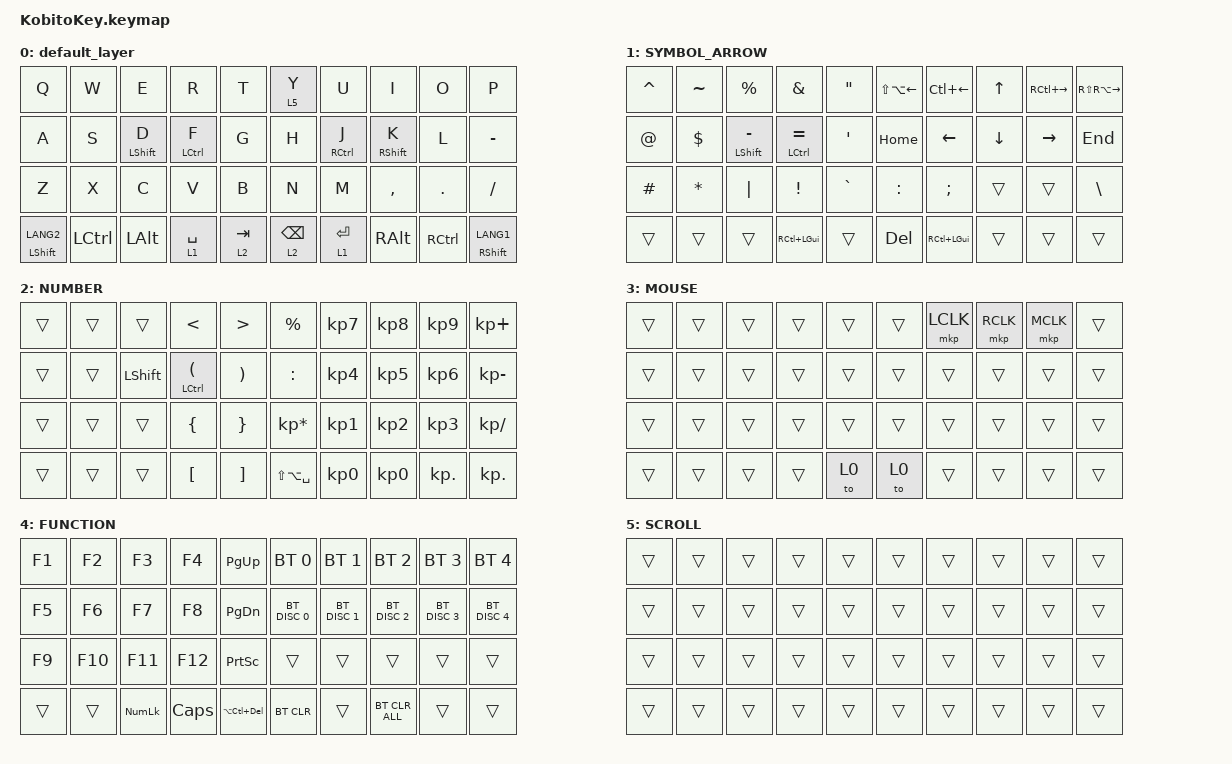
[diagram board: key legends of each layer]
#include <input/processors.dtsi>
#include <behaviors.dtsi>
#include <dt-bindings/zmk/bt.h>
#include <dt-bindings/zmk/keys.h>
#include <dt-bindings/zmk/pointing.h>

&mt {
    quick-tap-ms = <0>;
    require-prior-idle-ms = <125>;
    flavor = "tap-preferred";
};

&lt {
    quick-tap-ms = <200>;
    require-prior-idle-ms = <125>;
    flavor = "balanced";
};

/ {
    combos {
        compatible = "zmk,combos";

        combo_esc {
            timeout-ms = <50>;
            key-positions = <0 1>;
            bindings = <&kp ESC>;
        };

        combo_colon {
            bindings = <&kp COLON>;
            key-positions = <14 24>;
        };

        combo_semicolon {
            bindings = <&kp SEMICOLON>;
            key-positions = <15 25>;
        };

        combo_comma {
            bindings = <&kp COMMA>;
            key-positions = <4 14>;
        };

        combo_period {
            bindings = <&kp PERIOD>;
            key-positions = <5 15>;
        };

        combo_lt4_L {
            bindings = <&lt 4 LEFT_GUI>;
            key-positions = <33 34>;
        };

        combo_lt4_R {
            bindings = <&lt 4 LEFT_GUI>;
            key-positions = <35 36>;
        };
    };

    keymap {
        compatible = "zmk,keymap";

        default_layer {
            bindings = <
&kp Q            &kp W             &kp E             &kp R               &kp T      &lt 5 Y          &kp U                &kp I              &kp O              &kp P
&kp A            &kp S             &mt LEFT_SHIFT D  &mt LEFT_CONTROL F  &kp G      &kp H            &mt RIGHT_CONTROL J  &mt RIGHT_SHIFT K  &kp L              &kp MINUS
&kp Z            &kp X             &kp C             &kp V               &kp B      &kp N            &kp M                &kp COMMA          &kp PERIOD         &kp SLASH
&mt LSHFT LANG2  &kp LEFT_CONTROL  &kp LEFT_ALT      &lt 1 SPACE         &lt 2 TAB  &lt 2 BACKSPACE  &lt 1 ENTER          &kp RIGHT_ALT      &kp RIGHT_CONTROL  &mt RIGHT_SHIFT LANG1
            >;
        };

        SYMBOL_ARROW {
            label = "SYMBOL_ARROW";
            bindings = <
&kp CARET    &kp TILDE     &kp PERCENT           &kp AMPERSAND           &kp DOUBLE_QUOTES  &kp LS(LA(LEFT))  &kp LC(LEFT)      &kp UP    &kp RC(RIGHT)  &kp RS(RA(RIGHT))
&kp AT_SIGN  &kp DOLLAR    &mt LEFT_SHIFT MINUS  &mt LEFT_CONTROL EQUAL  &kp SINGLE_QUOTE   &kp HOME          &kp LEFT          &kp DOWN  &kp RIGHT      &kp END
&kp HASH     &kp ASTERISK  &kp PIPE              &kp EXCLAMATION         &kp GRAVE          &kp COLON         &kp SEMICOLON     &trans    &trans         &kp BACKSLASH
&trans       &trans        &trans                &kp RC(LEFT_GUI)        &trans             &kp DELETE        &kp RC(LEFT_GUI)  &trans    &trans         &trans
            >;
        };

        NUMBER {
            label = "NUMBER";
            bindings = <
&trans  &trans  &trans          &kp LESS_THAN                      &kp GREATER_THAN       &kp PERCENT        &kp KP_N7  &kp KP_N8  &kp KP_N9   &kp KP_PLUS
&trans  &trans  &kp LEFT_SHIFT  &mt LEFT_CONTROL LEFT_PARENTHESIS  &kp RIGHT_PARENTHESIS  &kp COLON          &kp KP_N4  &kp KP_N5  &kp KP_N6   &kp KP_MINUS
&trans  &trans  &trans          &kp LEFT_BRACE                     &kp RIGHT_BRACE        &kp KP_MULTIPLY    &kp KP_N1  &kp KP_N2  &kp KP_N3   &kp KP_SLASH
&trans  &trans  &trans          &kp LEFT_BRACKET                   &kp RIGHT_BRACKET      &kp LS(LA(SPACE))  &kp KP_N0  &kp KP_N0  &kp KP_DOT  &kp KP_DOT
            >;
        };

        MOUSE {
            label = "MOUSE";
            bindings = <
&trans  &trans  &trans  &trans  &trans  &trans  &mkp LCLK  &mkp RCLK  &mkp MCLK  &trans
&trans  &trans  &trans  &trans  &trans  &trans  &trans     &trans     &trans     &trans
&trans  &trans  &trans  &trans  &trans  &trans  &trans     &trans     &trans     &trans
&trans  &trans  &trans  &trans  &to 0   &to 0   &trans     &trans     &trans     &trans
            >;
        };

        FUNCTION {
            label = "FUNCTION";
            bindings = <
&kp F1  &kp F2   &kp F3          &kp F4        &kp PAGE_UP         &bt BT_SEL 0   &bt BT_SEL 1   &bt BT_SEL 2    &bt BT_SEL 3   &bt BT_SEL 4
&kp F5  &kp F6   &kp F7          &kp F8        &kp PAGE_DOWN       &bt BT_DISC 0  &bt BT_DISC 1  &bt BT_DISC 2   &bt BT_DISC 3  &bt BT_DISC 4
&kp F9  &kp F10  &kp F11         &kp F12       &kp PRINTSCREEN     &trans         &trans         &trans          &trans         &trans
&trans  &trans   &kp KP_NUMLOCK  &kp CAPSLOCK  &kp LA(LC(DELETE))  &bt BT_CLR     &trans         &bt BT_CLR_ALL  &trans         &trans
            >;
        };

        SCROLL {
            bindings = <
&trans  &trans  &trans  &trans  &trans  &trans  &trans  &trans  &trans  &trans
&trans  &trans  &trans  &trans  &trans  &trans  &trans  &trans  &trans  &trans
&trans  &trans  &trans  &trans  &trans  &trans  &trans  &trans  &trans  &trans
&trans  &trans  &trans  &trans  &trans  &trans  &trans  &trans  &trans  &trans
            >;
        };
    };
};
